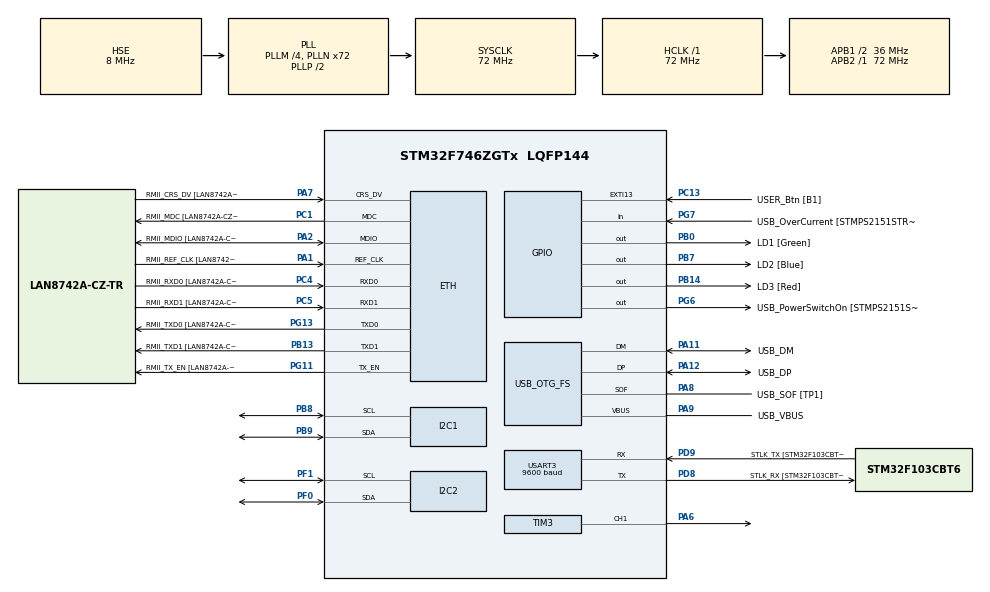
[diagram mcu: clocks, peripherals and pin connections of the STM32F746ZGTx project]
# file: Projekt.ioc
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ETH.MediaInterface=ETH_MEDIA_INTERFACE_RMII
ETH.PHY_Name=LAN8742A_PHY_ADDRESS
ETH.PHY_Value=0
ETH.PhyAddress=0
I2C1.Timing=0x00808CD2
I2C2.Timing=0x00808CD2
Mcu.Family=STM32F7
Mcu.Name=STM32F746ZGTx
Mcu.Package=LQFP144
NVIC.I2C1_ER_IRQn=true\:0\:0\:false\:false\:true\:true\:true
NVIC.I2C1_EV_IRQn=true\:0\:0\:false\:false\:true\:true\:true
NVIC.I2C2_ER_IRQn=true\:0\:0\:false\:false\:true\:true\:true
NVIC.I2C2_EV_IRQn=true\:0\:0\:false\:false\:true\:true\:true
NVIC.PriorityGroup=NVIC_PRIORITYGROUP_4
NVIC.TIM3_IRQn=true\:0\:0\:false\:false\:true\:true\:true
NVIC.USART3_IRQn=true\:0\:0\:false\:false\:true\:true\:true
PA1.GPIO_Label=RMII_REF_CLK [LAN8742A-CZ-TR_REFCLK0]
PA1.Mode=RMII
PA1.Signal=ETH_REF_CLK
PA10.GPIO_Label=USB_ID
PA10.Signal=USB_OTG_FS_ID
PA11.GPIO_Label=USB_DM
PA11.Mode=Device_Only
PA11.Signal=USB_OTG_FS_DM
PA12.GPIO_Label=USB_DP
PA12.Mode=Device_Only
PA12.Signal=USB_OTG_FS_DP
PA13.GPIO_Label=TMS
PA13.Mode=Serial_Wire
PA13.Signal=SYS_JTMS-SWDIO
PA14.GPIO_Label=TCK
PA14.Mode=Serial_Wire
PA14.Signal=SYS_JTCK-SWCLK
PA2.GPIO_Label=RMII_MDIO [LAN8742A-CZ-TR_MDIO]
PA2.Mode=RMII
PA2.Signal=ETH_MDIO
PA6.Signal=S_TIM3_CH1
PA7.GPIO_Label=RMII_CRS_DV [LAN8742A-CZ-TR_CRS_DV]
PA7.Mode=RMII
PA7.Signal=ETH_CRS_DV
PA8.GPIO_Label=USB_SOF [TP1]
PA8.Mode=Activate_SOF_FS
PA8.Signal=USB_OTG_FS_SOF
PA9.GPIO_Label=USB_VBUS
PA9.Mode=Activate_VBUS
PA9.Signal=USB_OTG_FS_VBUS
PB0.GPIO_Label=LD1 [Green]
PB0.Signal=GPIO_Output
PB13.GPIO_Label=RMII_TXD1 [LAN8742A-CZ-TR_TXD1]
PB13.Mode=RMII
PB13.Signal=ETH_TXD1
PB14.GPIO_Label=LD3 [Red]
PB14.Signal=GPIO_Output
PB3.GPIO_Label=SW0
PB3.Signal=SYS_JTDO-SWO
PB7.GPIO_Label=LD2 [Blue]
PB7.Signal=GPIO_Output
PB8.Mode=I2C
PB8.Signal=I2C1_SCL
PB9.Mode=I2C
PB9.Signal=I2C1_SDA
PC1.GPIO_Label=RMII_MDC [LAN8742A-CZ-TR_MDC]
PC1.Mode=RMII
PC1.Signal=ETH_MDC
PC13.GPIO_Label=USER_Btn [B1]
PC13.Signal=GPXTI13
PC14/OSC32_IN.Mode=LSE-External-Oscillator
PC14/OSC32_IN.Signal=RCC_OSC32_IN
PC15/OSC32_OUT.Mode=LSE-External-Oscillator
PC15/OSC32_OUT.Signal=RCC_OSC32_OUT
PC4.GPIO_Label=RMII_RXD0 [LAN8742A-CZ-TR_RXD0]
PC4.Mode=RMII
PC4.Signal=ETH_RXD0
PC5.GPIO_Label=RMII_RXD1 [LAN8742A-CZ-TR_RXD1]
PC5.Mode=RMII
PC5.Signal=ETH_RXD1
PD8.GPIO_Label=STLK_RX [STM32F103CBT6_PA3]
PD8.Mode=Asynchronous
PD8.Signal=USART3_TX
PD9.GPIO_Label=STLK_TX [STM32F103CBT6_PA2]
PD9.Mode=Asynchronous
PD9.Signal=USART3_RX
PF0.Mode=I2C
PF0.Signal=I2C2_SDA
PF1.Mode=I2C
PF1.Signal=I2C2_SCL
PG11.GPIO_Label=RMII_TX_EN [LAN8742A-CZ-TR_TXEN]
PG11.Mode=RMII
PG11.Signal=ETH_TX_EN
PG13.GPIO_Label=RMII_TXD0 [LAN8742A-CZ-TR_TXD0]
PG13.Mode=RMII
PG13.Signal=ETH_TXD0
PG6.GPIO_Label=USB_PowerSwitchOn [STMPS2151STR_EN]
PG6.Signal=GPIO_Output
PG7.GPIO_Label=USB_OverCurrent [STMPS2151STR_FAULT]
PG7.Signal=GPIO_Input
PH0/OSC_IN.GPIO_Label=MCO [STM32F103CBT6_PA8]
PH0/OSC_IN.Mode=HSE-External-Clock-Source
PH0/OSC_IN.Signal=RCC_OSC_IN
PH1/OSC_OUT.Mode=HSE-External-Clock-Source
PH1/OSC_OUT.Signal=RCC_OSC_OUT
ProjectManager.HeapSize=0x200
ProjectManager.StackSize=0x400
ProjectManager.TargetToolchain=STM32CubeIDE
RCC.48MHZClocksFreq_Value=24000000
RCC.AHBFreq_Value=72000000
RCC.APB1CLKDivider=RCC_HCLK_DIV2
RCC.APB1Freq_Value=36000000
RCC.APB1TimFreq_Value=72000000
RCC.APB2Freq_Value=72000000
RCC.APB2TimFreq_Value=72000000
RCC.CortexFreq_Value=72000000
RCC.HCLKFreq_Value=72000000
RCC.HSE_VALUE=8000000
RCC.HSI_VALUE=16000000
RCC.PLLM=4
RCC.PLLMUL=RCC_PLL_MUL9
RCC.PLLN=72
RCC.PLLQ=3
RCC.PRESCALERUSB=RCC_USBCLKSOURCE_PLL_DIV1_5
RCC.SYSCLKFreq_VALUE=72000000
RCC.SYSCLKSource=RCC_SYSCLKSOURCE_PLLCLK
RCC.SYSCLKSourceVirtual=RCC_SYSCLKSOURCE_PLLCLK
RCC.USBFreq_Value=48000000
RCC.VCOOutputFreq_Value=144000000
SH.S_TIM3_CH1.0=TIM3_CH1,PWM Generation1 CH1
TIM3.Channel-PWM\ Generation1\ CH1=TIM_CHANNEL_1
TIM3.Period=9
TIM3.Prescaler=71
TIM3.Pulse-PWM\ Generation1\ CH1=500
USART3.BaudRate=9600
USART3.VirtualMode-Asynchronous=VM_ASYNC
USB_OTG_FS.VirtualMode=Device_Only
board=NUCLEO-F746ZG

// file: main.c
/* USER CODE BEGIN Header */
/**
  ******************************************************************************
  * @file           : main.c
  * @brief          : Main program body
  ******************************************************************************
  * @attention
  *
  * <h2><center>&copy; Copyright (c) 2020 STMicroelectronics.
  * All rights reserved.</center></h2>
  *
  * This software component is licensed by ST under BSD 3-Clause license,
  * the "License"; You may not use this file except in compliance with the
  * License. You may obtain a copy of the License at:
  *                        opensource.org/licenses/BSD-3-Clause
  *
  ******************************************************************************
  */
/* USER CODE END Header */

#include "main.h"
#include "eth.h"
#include "i2c.h"
#include "tim.h"
#include "usart.h"
#include "usb_otg.h"
#include "gpio.h"

/* USER CODE BEGIN Includes */
#include "bh1750.h"
#include "stdio.h"
#include "stdlib.h"
#include "String.h"
#include "arm_math.h"
#include "i2c-lcd.h"
#include "math.h"
/* USER CODE END Includes */

/* USER CODE BEGIN PD */
/* define PID parameters */
// Ku = 30 +  ; 7 15 0.1 ; 24 0.1 0 ; 32 6 0.2-2 ; 32 2 0.1
#define PID_PARAM_KP        30
#define PID_PARAM_KI        4
#define PID_PARAM_KD        0.1

/* USER CODE END PD */

/* USER CODE BEGIN PV */
GPIO_PinState button_state, button_state_last;  // Actual and previous status of user button
int edge_detection;   // edge detection of the user button
float sensor_max; // Sensor maximal value
arm_pid_instance_f32 PID;  // PID instance

/* USER CODE END PV */

void SystemClock_Config(void);
/* USER CODE BEGIN PFP */

/**
  * @brief  Displays data on LCD.
  * @param  sensor_value is current value read by the sensor.
  * @param  requested_value is reference value set by the user.
  * @retval None
  */
void Send_Output(float sensor_value, float requested_value)
{
	char sensor_value_local[16];
	char requested_value_local[16];

	sprintf(sensor_value_local, "%g", sensor_value);
	sprintf(requested_value_local, "%g", requested_value);

	lcd_clear ();
	lcd_send_cmd(0x80);
	lcd_send_string("VAL:");
	lcd_send_string((uint8_t*)sensor_value_local);
	lcd_send_string(" lux");

	lcd_put_cur(1, 0);
	lcd_send_string("REQ:");
	lcd_send_string((uint8_t*)requested_value_local);
	lcd_send_string(" lux");
	HAL_Delay(200);
}
/**
  * @brief  Button_Pressed activates when button is pressed in order to set the sensor_max value.
  * @retval None
  */
void Button_Pressed()
{
	 // set edge detection value
		  	  if((button_state == GPIO_PIN_SET)&&(button_state_last == GPIO_PIN_RESET))
		  	  {
		  		  edge_detection = 1;
		  	  }
		  	  else
		  	  {
		  		  edge_detection = 0;
		  	  }
		  	  button_state_last = button_state;

		  	  // set new maximal value of the sensor
		  	  if(edge_detection)
		  	  {
		  		sensor_max=Sensor_Range();
		  	  }
}
/**
  * @brief Sensor_Range sets the maximum value of a sensor as reference for PID.
  * It lights a diode with it's maximum power to measure the max range.
  * @retval max_value (Maximum value of the sensor in lux)
  */
float Sensor_Range()
{
	float max_value=0;
	TIM3->CCR1=100000;
	HAL_Delay(500);
	BH1750_ReadLight(&max_value);
	TIM3->CCR1=0;
	HAL_Delay(300);
	return max_value;
}

Calculate_PID(float sensor_value, float requested_value)
{
	float light_delta;     // Difference between requested value and actual value of the sensor
	int PWM_duty=10;       // PWM duty value
	float32_t PID_duty=0;  // PID duty value
	light_delta=requested_value-sensor_value;
	PID_duty=arm_pid_f32(&PID, light_delta);
	PWM_duty+=(int)(PID_duty*sensor_max/100000.0);// calculate PWM value
	// check if PWM duty is in range
	if(PWM_duty>100000){
		PWM_duty=100000;
	}
	else if(PWM_duty<0){
		PWM_duty=0;
	}
	// set calculated PWM value
	TIM3->CCR1=PWM_duty;
}

/* USER CODE END PFP */

int main(void)
{
  /* USER CODE BEGIN 1 */
	uint8_t UartIn;  				// UART data receiving
	uint8_t UartOut; 				// UART data sending
	char terminal_setpoint[40];  	// UART receiving buffer
	uint8_t terminal_setpoint_size; // size of the UART message
	char buffer[40]; 				// UART sending buffer
	float sensor_value; 			// sensor actual value
	float requested_value=0; 		// Sensor requested value
	/* Rewrite defined PID parameters to PID instance */
	PID.Kp = PID_PARAM_KP;
	PID.Ki = PID_PARAM_KI;
	PID.Kd = PID_PARAM_KD;

  /* USER CODE END 1 */

  /* MCU Configuration--------------------------------------------------------*/

  /* Reset of all peripherals, Initializes the Flash interface and the Systick. */
  HAL_Init();

  /* Configure the system clock */
  SystemClock_Config();

  /* Initialize all configured peripherals */
  MX_GPIO_Init();
  MX_ETH_Init();
  MX_USART3_UART_Init();
  MX_USB_OTG_FS_PCD_Init();
  MX_I2C1_Init();
  MX_I2C2_Init();
  MX_TIM3_Init();
  /* USER CODE BEGIN 2 */
  /* Start PWM */
  HAL_TIM_PWM_Start(&htim3, TIM_CHANNEL_1);
  /* Initialize BH1750 sensor */
  BH1750_Init(&hi2c2);
  /* Sets resolution mode to continuous high */
  BH1750_SetMode(CONTINUOUS_HIGH_RES_MODE_2);
  /* Initialize LCD */
  lcd_init ();
  /* Initialize PID */
  arm_pid_init_f32(&PID, 1);
  /* Adjusts maximum range of sensor based on current light level in the room*/
  sensor_max=Sensor_Range();
  /* USER CODE END 2 */

  /* Infinite loop */
  /* USER CODE BEGIN WHILE */
  while (1)
  {
	  	  button_state = HAL_GPIO_ReadPin(USER_Btn_GPIO_Port, USER_Btn_Pin);// read button state
	  	  Button_Pressed();

	  	  BH1750_ReadLight(&sensor_value); // Reads the converted value and calculates the result.

	  	  // transmit actual sensor value over UART
	  	  terminal_setpoint_size=sprintf (buffer, "%3.2f\n\r", sensor_value);
	  	  UartOut = HAL_UART_Transmit_IT(&huart3,(uint8_t*) buffer, terminal_setpoint_size);

	  	  // calculate proper PID duty value
	  	  Calculate_PID(sensor_value, requested_value);

	  	  // send current and requested values to LCD
	  	  Send_Output(sensor_value, requested_value);

	  	  // receive wanted sensor value from UART
	  	  UartIn = HAL_UART_Receive_IT( &huart3, (uint8_t*)&terminal_setpoint, terminal_setpoint_size);
	  	  requested_value= atof(terminal_setpoint);

	  	  HAL_Delay(200);
  /* USER CODE END WHILE */

  }
}

void SystemClock_Config(void)
{
  RCC_OscInitTypeDef RCC_OscInitStruct = {0};
  RCC_ClkInitTypeDef RCC_ClkInitStruct = {0};
  RCC_PeriphCLKInitTypeDef PeriphClkInitStruct = {0};

  /** Configure LSE Drive Capability
  */
  HAL_PWR_EnableBkUpAccess();
  /** Configure the main internal regulator output voltage
  */
  __HAL_RCC_PWR_CLK_ENABLE();
  __HAL_PWR_VOLTAGESCALING_CONFIG(PWR_REGULATOR_VOLTAGE_SCALE3);
  /** Initializes the CPU, AHB and APB busses clocks
  */
  RCC_OscInitStruct.OscillatorType = RCC_OSCILLATORTYPE_HSE;
  RCC_OscInitStruct.HSEState = RCC_HSE_BYPASS;
  RCC_OscInitStruct.PLL.PLLState = RCC_PLL_ON;
  RCC_OscInitStruct.PLL.PLLSource = RCC_PLLSOURCE_HSE;
  RCC_OscInitStruct.PLL.PLLM = 4;
  RCC_OscInitStruct.PLL.PLLN = 72;
  RCC_OscInitStruct.PLL.PLLP = RCC_PLLP_DIV2;
  RCC_OscInitStruct.PLL.PLLQ = 3;
  if (HAL_RCC_OscConfig(&RCC_OscInitStruct) != HAL_OK)
  {
    Error_Handler();
  }
  /** Initializes the CPU, AHB and APB busses clocks
  */
  RCC_ClkInitStruct.ClockType = RCC_CLOCKTYPE_HCLK|RCC_CLOCKTYPE_SYSCLK
                              |RCC_CLOCKTYPE_PCLK1|RCC_CLOCKTYPE_PCLK2;
  RCC_ClkInitStruct.SYSCLKSource = RCC_SYSCLKSOURCE_PLLCLK;
  RCC_ClkInitStruct.AHBCLKDivider = RCC_SYSCLK_DIV1;
  RCC_ClkInitStruct.APB1CLKDivider = RCC_HCLK_DIV2;
  RCC_ClkInitStruct.APB2CLKDivider = RCC_HCLK_DIV1;

  if (HAL_RCC_ClockConfig(&RCC_ClkInitStruct, FLASH_LATENCY_2) != HAL_OK)
  {
    Error_Handler();
  }
  PeriphClkInitStruct.PeriphClockSelection = RCC_PERIPHCLK_USART3|RCC_PERIPHCLK_I2C1
                              |RCC_PERIPHCLK_I2C2|RCC_PERIPHCLK_CLK48;
  PeriphClkInitStruct.Usart3ClockSelection = RCC_USART3CLKSOURCE_PCLK1;
  PeriphClkInitStruct.I2c1ClockSelection = RCC_I2C1CLKSOURCE_PCLK1;
  PeriphClkInitStruct.I2c2ClockSelection = RCC_I2C2CLKSOURCE_PCLK1;
  PeriphClkInitStruct.Clk48ClockSelection = RCC_CLK48SOURCE_PLL;
  if (HAL_RCCEx_PeriphCLKConfig(&PeriphClkInitStruct) != HAL_OK)
  {
    Error_Handler();
  }
}

void Error_Handler(void)
{
}

/************************ (C) COPYRIGHT STMicroelectronics *****END OF FILE****/
